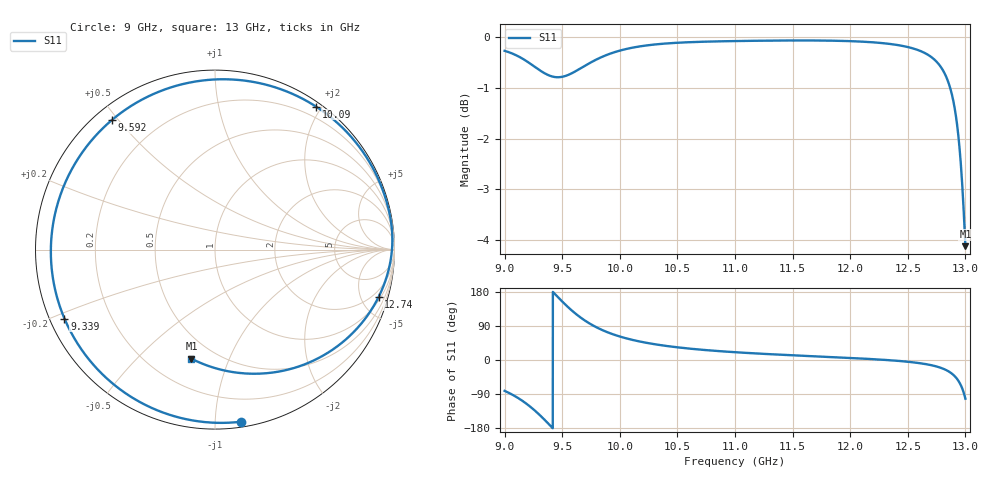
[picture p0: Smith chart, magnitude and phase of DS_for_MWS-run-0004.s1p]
! TOUCHSTONE file generated by CST DESIGN STUDIO
! Date and time: Tue Feb  4 16:45:54 2025
! Project name: C:\Work\MatlabApps\UnitCellOptimizationMatlab\CST\unitcell.cst
! Tree item: Tasks\Sweep1\SPara1\S-Parameters
! Header version: 2024
! Port assignment regex: !\s*Touchstone port\s*([0-9]+)\s*=\s*(CST MWS port|CST DES external port|CST DES block port)\s*(.+)\s* \(\"(.*)\"\)(\s*mode\s*([0-9]+))?.*
! Touchstone port assignment:
! Touchstone port 1 = CST DES external port 1 ("")
# GHz S MA R 50
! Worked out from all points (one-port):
!   4001 points, 9 GHz to 13 GHz, reference 50 ohm
!   lowest |S11| = -4.1 dB at 13 GHz (marker M1), VSWR 4.29, Z = 18.6 - j36.9 ohm
!   |S11| at or under -10 dB: nowhere
!   S11 on the Smith chart (normalised r, x): 9 GHz: 0.04, -1.16; 9.339 GHz: 0.04, -0.22; 9.592 GHz: 0.05, +0.48; 10.09 GHz: 0.06, +1.93; 12.74 GHz: 1.27, -6.77; 13 GHz: 0.37, -0.74
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9  0.9698 -81.4
9.103  0.9597 -97.7
9.186  0.948 -114.6
9.262  0.9351 -133.3
9.339  0.9227 -155.3
9.38  0.9176 -168.0
9.419  0.9144 179.7
9.459  0.9132 167.0
9.5  0.9142 154.4
9.592  0.9227 128.3
9.667  0.933 110.4
9.752  0.945 93.8
9.871  0.9592 76.0
10  0.9703 62.0
10.087  0.9756 54.7
10.27  0.983 43.3
10.5  0.9878 33.5
11  0.9916 20.6
11.5  0.9929 12.4
12  0.9914 5.4
12.5  0.9782 -4.6
12.739  0.9488 -16.2
12.835  0.9133 -26.8
12.9  0.8598 -40.5
12.924  0.8264 -48.5
12.946  0.7846 -58.2
12.971  0.7199 -73.9
13  0.6219 -102.2
